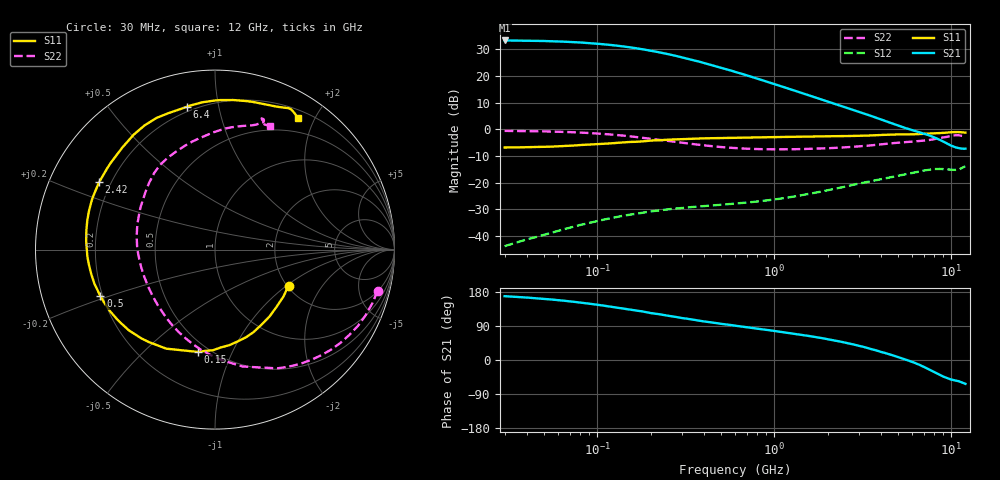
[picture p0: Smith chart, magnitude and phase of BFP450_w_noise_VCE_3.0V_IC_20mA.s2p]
! (c) 2015  Infineon Technologies AG, Munich
! Infineon Technologies  Discrete & RF Semiconductors
! BFP450
! VCE =  3.0 V,  IC =  20 mA
! Common Emitter S-Parameters:  Nov 2015
# GHz  S  MA  R  50
!  f  S11  S21  S12  S22
! GHz  MAG  ANG  MAG  ANG  MAG  ANG  MAG  ANG
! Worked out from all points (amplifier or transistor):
!   239 points, 30 MHz to 12 GHz, reference 50 ohm
!   highest |S21| = 33.3 dB at 30 MHz (marker M1)
!   |S21| within 3 dB of that: start of sweep to 169.1 MHz
!   unconditionally stable (mu >= 1): 1.666 GHz to end of sweep
!   at 300 MHz: K = 0.30, MSG = 28.2 dB, |S12| = -29.4 dB
!   at 1.88 GHz: K = 1.04, MAG = 15.8 dB, |S12| = -23.2 dB
!   at 12 GHz: K = 1.11, MAG = 1.3 dB, |S12| = -13.9 dB
!   lowest NFmin = 1.10 dB at 450 MHz
!   S11 on the Smith chart (normalised r, x): 30 MHz: 2.03, -1.04; 150 MHz: 0.44, -0.75; 500 MHz: 0.19, -0.19; 2.42 GHz: 0.16, +0.26; 6.4 GHz: 0.17, +0.81; 12 GHz: 0.30, +1.77
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0.03  0.4565 -26.2  46.02 168.4  0.0065 77.3  0.9345 -14.3
0.04  0.4625 -34.5  45.51 164.8  0.0087 75.3  0.9261 -18.9
0.055  0.4737 -47.0  44.53 159.7  0.0116 71.4  0.9083 -25.8
0.065  0.4853 -54.5  43.62 156.4  0.0135 69.2  0.8938 -30.3
0.085  0.5123 -67.8  41.64 150.2  0.0169 64.7  0.8611 -38.8
0.115  0.5418 -84.1  38.33 141.8  0.0212 58.5  0.8071 -50.4
0.15  0.5781 -99.6  34.59 133.5  0.025 52.9  0.7465 -62.4
0.175  0.5904 -108.2  31.98 129.1  0.027 49.6  0.7024 -69.2
0.2  0.6152 -116.2  29.59 123.9  0.029 46.7  0.6693 -76.7
0.24  0.6332 -125.5  26.35 118.3  0.0312 43.2  0.6188 -86.0
0.3  0.6577 -136.8  22.27 110.8  0.0337 39.6  0.5625 -98.3
0.34  0.6656 -142.3  20.13 107.1  0.035 38.1  0.5336 -104.9
0.4  0.6774 -149.3  17.46 101.9  0.0365 36.4  0.5015 -113.9
0.5  0.6891 -157.9  14.2 95.5  0.0387 35.1  0.466 -125.8
0.6  0.6983 -164.2  11.89 90.4  0.0407 34.9  0.4457 -135.2
0.8  0.7077 -173.4  8.872 82.6  0.0445 35.5  0.4271 -149.1
1  0.7146 179.8  7.006 76.7  0.0486 36.6  0.4221 -159.3
1.64  0.7326 164.3  4.125 62.0  0.0634 38.1  0.4328 179.0
2.42  0.7467 149.8  2.694 47.5  0.0823 35.3  0.4564 160.8
4.5  0.7957 119.5  1.329 14.4  0.1251 19.3  0.5448 128.5
6.4  0.8117 101.0  0.909 -10.0  0.1588 3.3  0.5991 107.2
12  0.8657 57.8  0.434 -62.8  0.203 -39.7  0.7532 66.0
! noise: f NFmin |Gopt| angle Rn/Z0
0.45  1.1  0.33  -178  0.07
0.9  1.17  0.39  -178  0.07
1.9  1.31  0.49  -163  0.07
2.4  1.45  0.52  -153  0.08
